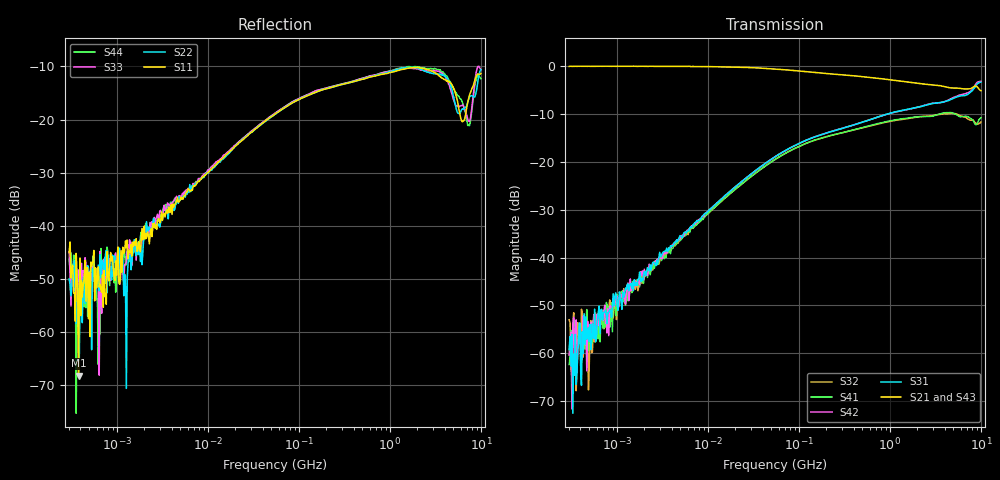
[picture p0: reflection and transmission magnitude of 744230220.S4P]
! This data is being provided by Wuerth Elektronik eiSos GmbH & Co. KG to the industry for analysis.
! Document information:
! Version:rev19a Date: 16/12/2019
! Component information:
! Match Code: WE-CNSW P/N: 744230220 Size: 0603
! Disclaimer:  While Würth Elektronik eiSos has made every reasonable effort to ensure the accuracy
! of the information provided, Würth Elektronik eiSos does not guarantee the exemption of error on the
! data collection measurements, nor does Würth Elektronik eiSos guarantee that the information is current.
! Würth Elektronik eiSos reserves the right to make any adjustments at any time without notice.
! Würth Elektronik eiSos expressly disclaims all implied warranties regarding this measurement data collection.
! Note 1  This data measurement is representative according to the product implementation into the fixture.
! Component behavior is sensitive to implementation into the fixture, which includes board
! materials, trace geometry information, connector pin out, layer connection, use of de-embedding
! techniques, etc.
! Note 2 - The fixture was designed specifically to match the 50 Ohm line impedance, as well as the connector impedance,
! in order to accomplish a reliable measurement without reflections in the trace. Any other implementation of the fixture will change the obtained
! measurement performance. The used fixture behavior was de-embedded to accomplish reliable measurement results.
! The test setup consisted of the following:
!  - Agilent VNA E5071C or E5071B
!  - Calibrations are SOLT (short open load thru)
!  - De-embedding of the SMA's or line cards were included
!  - Equipment Settings -
!  - Sampling - 501 points
!  - IF BW  70 kHz
!  - Averaging  Not used
!  Port 1----->|1|  |2| -----> Port 3
!  |  DUT  |
!  Port 2----->|3|  |4| -----> Port 4
!*VNA Port --> |Port in Datasheet|
! |Port in Datasheet| --> VNA Port
! For further information regarding this testing, please contact
! Wuerth Elektronik eiSos
! Contact: EDA team in QDC
! Email: libraries@we-online.com or libraries@we-online.de
# Hz S dB R 50
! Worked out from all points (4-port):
!   501 points, 300 kHz to 10 GHz, reference 50 ohm
!   strongest paths, dB at 300 kHz, 4.054 MHz, 54.77 MHz, 740.1 MHz, 10 GHz:
!     S21: 0.0, 0.0, -0.6, -2.5, -5.1
!     S43: 0.0, 0.0, -0.6, -2.6, -5.0
!     S31: -59.2, -37.5, -18.9, -10.6, -3.3
!     S42: -60.4, -37.4, -18.9, -10.6, -3.2
!     S41: -62.3, -38.2, -19.5, -12.0, -10.8
!     S32: -53.0, -37.5, -19.5, -12.1, -11.7
!   lowest |S11| = -68.3 dB at 380.7 kHz (marker M1), VSWR 1.00, Z = 50 + j0.0386 ohm
!   |S11| at or under -10 dB: start of sweep to end of sweep
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300000  -45.06 57.0  -0.03 -0.1  -75.59 137.9  -59.45 -66.8
        -0.05 -0.0  -50.07 50.4  -56.82 -89.9  -67.74 12.3
        -59.23 73.6  -52.99 -61.1  -44.89 95.8  -0.05 -0.0
        -62.34 -98.2  -60.37 49.8  -0.03 -0.1  -46.33 54.4
322004  -48.00 49.4  -0.02 -0.0  -54.04 101.0  -54.55 -106.8
        -0.03 0.0  -51.26 1.9  -63.57 -49.3  -58.09 129.9
        -55.98 81.1  -64.76 -101.7  -48.06 37.8  -0.06 0.1
        -61.71 -126.3  -71.65 3.0  -0.04 -0.0  -49.69 23.4
380683  -68.25 85.5  0.01 -0.1  -71.05 143.2  -59.17 -60.2
        -0.00 -0.2  -56.20 65.6  -56.83 -85.3  -53.50 82.8
        -58.21 103.3  -57.24 -124.2  -48.38 49.5  -0.03 -0.1
        -55.81 -114.2  -57.15 67.3  -0.02 -0.0  -54.65 -66.2
6.674474e7  -18.00 47.4  -0.71 -6.7  -17.92 50.1  -18.51 -133.0
            -0.71 -6.7  -17.98 47.4  -18.48 -133.1  -17.93 50.1
            -17.93 50.1  -18.50 -133.2  -17.85 47.0  -0.74 -6.8
            -18.50 -133.0  -17.92 50.0  -0.74 -6.7  -17.82 46.5
2.816136e9  -10.77 -16.9  -3.86 -38.4  -7.86 10.4  -10.49 127.0
            -3.85 -38.6  -11.19 -19.6  -10.40 126.0  -7.81 10.3
            -7.87 10.2  -10.41 126.0  -10.80 -20.9  -3.98 -39.9
            -10.47 126.8  -7.82 10.4  -3.98 -39.9  -10.34 -20.8
7.316673e9  -16.08 -11.6  -4.75 -85.9  -5.77 -5.7  -10.59 42.5
            -4.75 -86.4  -16.25 4.6  -11.07 42.2  -5.54 -6.5
            -5.77 -5.7  -11.10 42.2  -20.32 -2.4  -4.64 -86.3
            -10.64 41.9  -5.52 -6.2  -4.64 -86.3  -21.08 -11.5
1e10  -11.32 12.8  -5.14 -126.2  -3.32 -25.9  -10.79 21.8
      -5.10 -127.0  -10.62 12.5  -11.60 25.5  -3.18 -26.0
      -3.34 -26.3  -11.68 26.0  -10.65 19.9  -4.99 -127.1
      -10.80 21.3  -3.16 -25.6  -4.99 -126.9  -12.33 14.1
